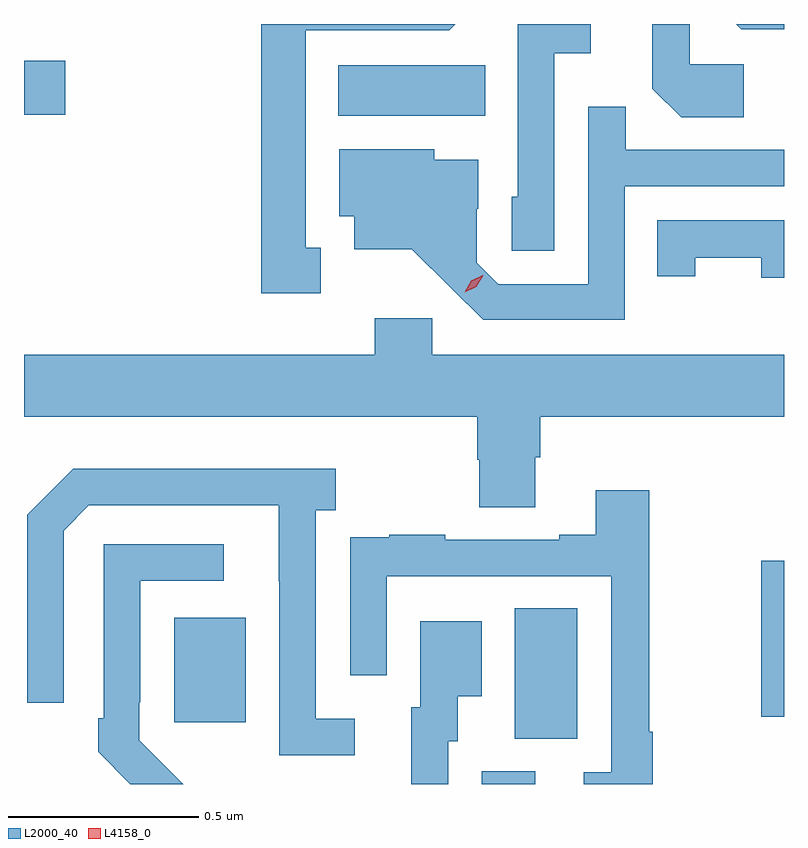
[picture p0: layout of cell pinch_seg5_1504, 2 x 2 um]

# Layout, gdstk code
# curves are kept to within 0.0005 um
import gdstk
lib = gdstk.Library(unit=1e-6, precision=1e-09)
def R(c, l, rs):  # rectangles x0, y0, x1, y1
    for r in rs: c.add(gdstk.rectangle(r[:2], r[2:], *l))
def P(c, l, *ps):  # polygons
    for p in ps: c.add(gdstk.Polygon(p, *l))
L2000_40 = (2000, 40)
L4158_0 = (4158, 0)

pinch_seg5_1504 = lib.new_cell('pinch_seg5_1504')
R(pinch_seg5_1504, L2000_40, [(143.519,883.766,143.659,883.8), (143.606,883.885,143.77,884.228), (142.709,883.929,142.897,884.203), (144.254,883.943,144.314,884.353), (143.141,885.524,143.528,885.658), (142.314,885.527,142.423,885.669)])
P(pinch_seg5_1504, L2000_40, [(144.314,885.766),(144.188,885.766),(144.202,885.752),(144.314,885.752)],
  [(143.095,885.177),(143.056,885.177),(143.056,885.75),(143.433,885.75),(143.449,885.766),(142.938,885.766),(142.938,885.057),(143.095,885.057)],
  [(144.208,885.66),(144.066,885.66),(144.066,885.766),(143.967,885.766),(143.967,885.596),(144.043,885.52),(144.208,885.52)],
  [(143.709,885.689),(143.806,885.689),(143.806,885.766),(143.613,885.766),(143.613,885.312),(143.598,885.312),(143.598,885.169),(143.709,885.169)],
  [(143.895,885.339),(144.314,885.339),(144.314,885.435),(143.897,885.435),(143.897,885.548),(143.799,885.548),(143.799,885.081),(143.562,885.081),(143.505,885.138),(143.505,885.28),(143.509,885.28),(143.509,885.409),(143.394,885.409),(143.394,885.436),(143.144,885.436),(143.144,885.26),(143.183,885.26),(143.183,885.173),(143.335,885.173),(143.522,884.988),(143.895,884.988)],
  [(144.314,885.249),(143.98,885.249),(143.98,885.102),(144.081,885.102),(144.081,885.151),(144.254,885.151),(144.254,885.098),(144.314,885.098)],
  [(143.659,884.626),(143.672,884.626),(143.672,884.732),(144.314,884.732),(144.314,884.896),(143.388,884.896),(143.388,884.992),(143.237,884.992),(143.237,884.896),(142.314,884.896),(142.314,884.732),(143.507,884.732),(143.507,884.619),(143.512,884.619),(143.512,884.494),(143.659,884.494)],
  [(143.185,883.938),(143.082,883.938),(143.082,884.486),(143.134,884.486),(143.134,884.596),(142.444,884.596),(142.323,884.475),(142.323,883.98),(142.419,883.98),(142.419,884.433),(142.485,884.499),(142.985,884.499),(142.985,884.299),(142.986,884.299),(142.986,883.842),(143.185,883.842)],
  [(143.968,883.904),(143.96,883.904),(143.96,884.539),(143.819,884.539),(143.819,884.422),(143.723,884.422),(143.723,884.409),(143.423,884.409),(143.423,884.422),(143.275,884.422),(143.275,884.415),(143.173,884.415),(143.173,884.306),(143.172,884.306),(143.172,884.052),(143.268,884.052),(143.268,884.313),(143.859,884.313),(143.859,883.797),(143.787,883.797),(143.787,883.766),(143.968,883.766)],
  [(142.617,883.881),(142.617,883.981),(142.62,883.981),(142.62,884.301),(142.84,884.301),(142.84,884.397),(142.524,884.397),(142.524,883.939),(142.509,883.939),(142.509,883.851),(142.594,883.766),(142.733,883.766)],
  [(143.43,883.878),(143.455,883.878),(143.455,883.997),(143.518,883.997),(143.518,884.194),(143.357,884.194),(143.357,883.968),(143.333,883.968),(143.333,883.766),(143.43,883.766)])
P(pinch_seg5_1504, L4158_0, [(143.474,885.06),(143.474,885.06),(143.491,885.09),(143.521,885.105),(143.522,885.105),(143.522,885.105),(143.504,885.075),(143.474,885.06)])

lib.write_gds('pinch_seg5_1504.gds')
